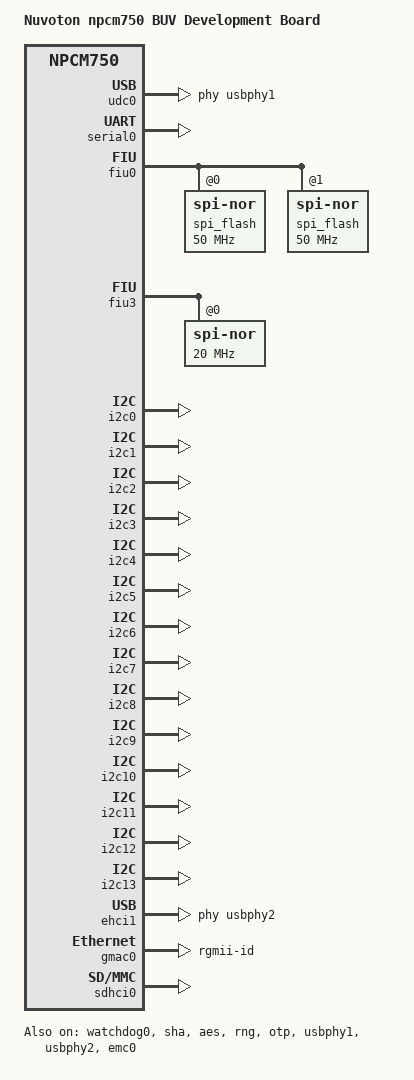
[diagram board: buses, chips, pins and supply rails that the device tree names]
// SPDX-License-Identifier: GPL-2.0
/dts-v1/;

#include "nuvoton-npcm750.dtsi"
#include "nuvoton-npcm750-buv-pincfg.dtsi"

/ {
	model = "Nuvoton npcm750 BUV Development Board";
	compatible = "npcm750,runbmc";

	chosen {
		stdout-path = &serial0;
		tick-timer = &timer0;
	};

	aliases {
		serial0 = &serial0;
		serial1 = &serial1;
		serial2 = &serial2;
		serial3 = &serial3;
		i2c0 = &i2c0;
		i2c1 = &i2c1;
		i2c2 = &i2c2;
		i2c3 = &i2c3;
		i2c4 = &i2c4;
		i2c5 = &i2c5;
		i2c6 = &i2c6;
		i2c7 = &i2c7;
		i2c8 = &i2c8;
		i2c9 = &i2c9;
		i2c10 = &i2c10;
		i2c11 = &i2c11;
		i2c12 = &i2c12;
		i2c13 = &i2c13;
		i2c14 = &i2c14;
		i2c15 = &i2c15;
		spi0 = &fiu0;
		spi1 = &fiu3;
		spi2 = &fiux;
		spi3 = &spi0;
		spi4 = &spi1;
		mmc0 = &sdhci0;
		gpio0 = &gpio0;
		gpio1 = &gpio1;
		gpio2 = &gpio2;
		gpio3 = &gpio3;
		gpio4 = &gpio4;
		gpio5 = &gpio5;
		gpio6 = &gpio6;
		gpio7 = &gpio7;
		usb0 = &udc0;
		eth0 = &emc0;
		eth1 = &gmac0;
	};
};

&udc0 {
	status = "okay";
	phys = <&usbphy1 0>;
};

&serial0 {
	status = "okay";
	clock-frequency = <24000000>;
};
&watchdog0 {
	status = "okay";
};

&sha {
	status = "okay";
};

&aes {
	status = "okay";
};

&rng {
	status = "okay";
};

&fiu0 {
	pinctrl-names = "default";
	pinctrl-0 = <&spi0cs1_pins>;
	status = "okay";
	spi_flash@0 {
		compatible = "jedec,spi-nor";
		reg = <0>;
		spi-max-frequency = <50000000>;
	};
	spi_flash@1 {
		compatible = "jedec,spi-nor";
		reg = <1>;
		spi-max-frequency = <50000000>;
	};
};

&fiu3 {
	pinctrl-0 = <&spi3_pins>;
	status = "okay";
	spi-nor@0 {
		compatible = "jedec,spi-nor";
		reg = <0>;
		spi-max-frequency = <20000000>;
	};
};

&i2c0 {
	status = "okay";
};

&i2c1 {
	status = "okay";
};

&i2c2 {
	status = "okay";
};

&i2c3 {
	status = "okay";
};

&i2c4 {
	status = "okay";
};

&i2c5 {
	status = "okay";
};

&i2c6 {
	status = "okay";
};

&i2c7 {
	status = "okay";
};

&i2c8 {
	status = "okay";
};

&i2c9 {
	status = "okay";
};

&i2c10 {
	status = "okay";
};

&i2c11 {
	status = "okay";
};

&i2c12 {
	status = "okay";
};

&i2c13 {
	status = "okay";
};

&ehci1 {
	status = "okay";
	phys = <&usbphy2 3>;
};

&otp {
	status = "okay";
};

&usbphy1 {
	status = "okay";
};

&usbphy2 {
	status = "okay";
};

&gmac0 {
	phy-mode = "rgmii-id";
	snps,eee-force-disable;
	status = "okay";
};

&emc0 {
	status = "okay";
	pinctrl-names = "default";
	pinctrl-0 = <&r1_pins
			&r1err_pins>;
	fixed-link {
			speed = <100>;
			full-dulpex;
	};
};

&sdhci0 {
	status = "okay";
};

&pinctrl {
	status = "okay";
};
